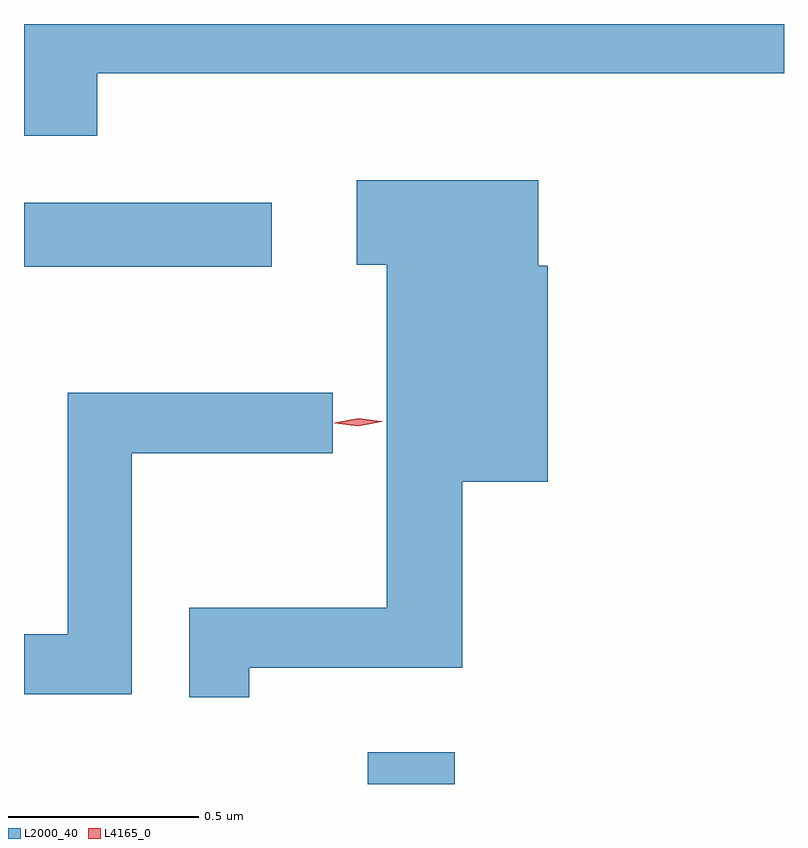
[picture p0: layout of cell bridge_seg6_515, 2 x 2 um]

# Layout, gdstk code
import gdstk
lib = gdstk.Library(unit=1e-6, precision=1e-09)
def R(c, l, rs):  # rectangles x0, y0, x1, y1
    for r in rs: c.add(gdstk.rectangle(r[:2], r[2:], *l))
def P(c, l, *ps):  # polygons
    for p in ps: c.add(gdstk.Polygon(p, *l))
L2000_40 = (2000, 40)
L4165_0 = (4165, 0)

bridge_seg6_515 = lib.new_cell('bridge_seg6_515')
R(bridge_seg6_515, L2000_40, [(736.751,1554.825,736.979,1554.909), (735.846,1556.186,736.498,1556.354)])
P(bridge_seg6_515, L2000_40, [(736.039,1556.696),(737.846,1556.696),(737.846,1556.825),(735.846,1556.825),(735.846,1556.531),(736.039,1556.531)],
  [(736.439,1555.131),(736.999,1555.131),(736.999,1555.621),(737.224,1555.621),(737.224,1556.189),(737.199,1556.189),(737.199,1556.414),(736.721,1556.414),(736.721,1556.191),(736.801,1556.191),(736.801,1555.289),(736.281,1555.289),(736.281,1555.053),(736.439,1555.053)],
  [(736.129,1555.696),(736.658,1555.696),(736.658,1555.854),(735.961,1555.854),(735.961,1555.219),(735.846,1555.219),(735.846,1555.061),(736.129,1555.061)])
P(bridge_seg6_515, L4165_0, [(736.726,1555.767),(736.664,1555.775),(736.663,1555.775),(736.664,1555.776),(736.726,1555.787),(736.788,1555.78),(736.789,1555.779),(736.788,1555.778)])

lib.write_gds('bridge_seg6_515.gds')
